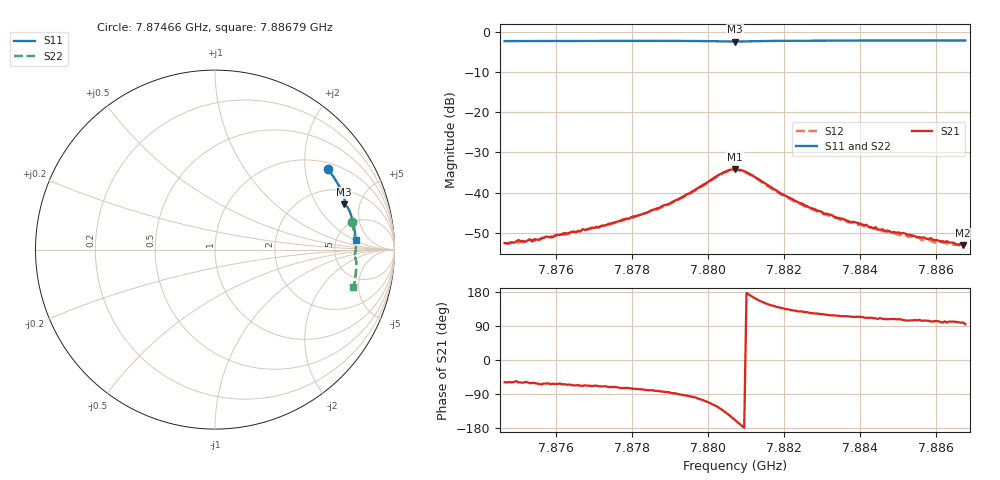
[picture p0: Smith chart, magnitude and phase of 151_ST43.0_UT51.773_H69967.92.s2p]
#  HZ  S  DB  R  50.00
! Rohde & Schwarz Vector Network Analyzer
! Rohde-Schwarz,ZNB20-2Port,1311601062101988,3.16
! Created: UTC 1/12/2023, 6:40:32 PM
! freq[Hz]  db:S11  ang:S11  db:S21  ang:S21  db:S12  ang:S12  db:S22  ang:S22
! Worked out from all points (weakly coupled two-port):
!   201 points, 7.87466 GHz to 7.88679 GHz, reference 50 ohm
!   highest |S21| = -34.19 dB at 7.88072 GHz (marker M1); lowest = -53.1 dB at 7.88673 GHz (marker M2)
!   lowest |S11| = -2.3 dB at 7.88072 GHz (marker M3), VSWR 7.45, Z = 147 + j178 ohm
!   |S11| at or under -10 dB: nowhere
!   |S22| runs from -2.3 to -2.0 dB; largest |S21 - S12| = 0.0013
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7.874656e9  -2.24 35.4  -52.59 -58.7  -52.68 -59.9  -2.19 11.4
7.875141e9  -2.24 34.1  -52.07 -60.0  -52.42 -62.9  -2.17 10.2
7.875323e9  -2.23 33.5  -51.70 -61.4  -51.73 -62.7  -2.17 9.8
7.875384e9  -2.23 33.4  -52.21 -60.2  -51.86 -62.8  -2.17 9.6
7.875445e9  -2.23 33.2  -51.63 -60.9  -52.04 -63.7  -2.17 9.4
7.875505e9  -2.23 33.1  -51.73 -62.2  -51.25 -64.1  -2.17 9.3
7.875566e9  -2.23 32.9  -51.75 -63.2  -51.86 -65.0  -2.17 9.2
7.876718e9  -2.21 29.7  -49.11 -67.9  -49.51 -70.5  -2.14 6.4
7.877143e9  -2.21 28.6  -48.66 -69.7  -48.64 -72.5  -2.12 5.5
7.87872e9  -2.19 24.2  -43.89 -81.7  -43.90 -86.4  -2.09 1.7
7.879387e9  -2.21 22.3  -40.83 -93.0  -41.05 -95.9  -2.10 0.1
7.880418e9  -2.32 19.6  -34.95 -134.2  -35.15 -137.4  -2.22 -2.1
7.880721e9  -2.35 19.3  -34.19 -158.5  -34.41 -162.0  -2.26 -2.3
7.881146e9  -2.29 18.9  -35.53 169.0  -35.67 165.6  -2.20 -2.6
7.881934e9  -2.18 16.8  -40.27 137.4  -40.47 133.9  -2.08 -4.3
7.882784e9  -2.14 14.4  -44.02 123.3  -44.27 120.0  -2.02 -6.3
7.883754e9  -2.12 11.7  -47.36 114.2  -47.40 112.3  -2.00 -8.5
7.884785e9  -2.11 9.0  -49.59 107.8  -49.88 104.2  -1.98 -10.8
7.885574e9  -2.10 7.0  -51.13 105.9  -51.25 101.1  -1.96 -12.6
7.885634e9  -2.10 6.8  -51.24 103.5  -51.86 100.2  -1.97 -12.7
7.886726e9  -2.09 4.0  -53.13 98.8  -53.09 95.6  -1.96 -15.1
7.886787e9  -2.08 3.8  -52.85 94.5  -53.37 95.6  -1.96 -15.2
